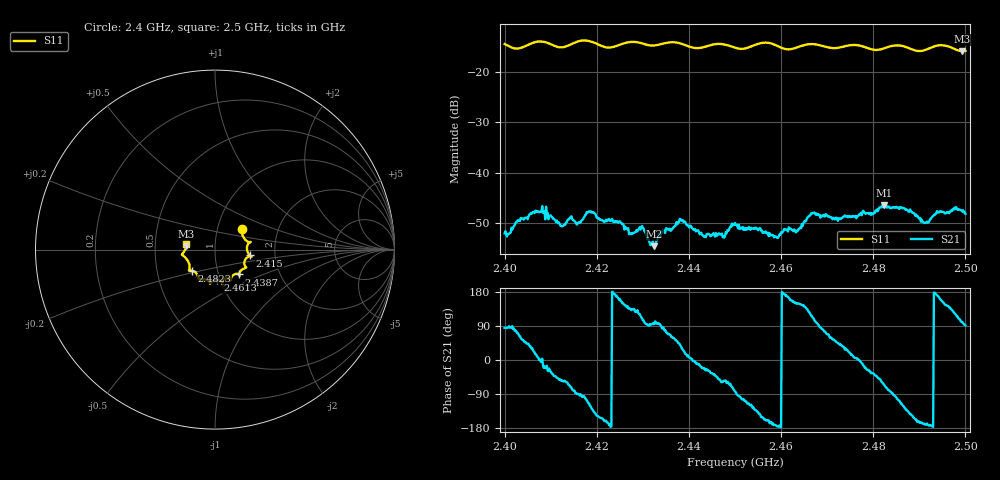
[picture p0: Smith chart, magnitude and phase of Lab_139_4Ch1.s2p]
# Hz S RI R 50
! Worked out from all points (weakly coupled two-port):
!   601 points, 2.4 GHz to 2.5 GHz, reference 50 ohm
!   highest |S21| = -46.55 dB at 2.4823 GHz (marker M1); lowest = -54.7 dB at 2.4325 GHz (marker M2)
!   lowest |S11| = -15.8 dB at 2.4993 GHz (marker M3), VSWR 1.39, Z = 36 + j1.28 ohm
!   |S11| at or under -10 dB: start of sweep to end of sweep
!   S12 and S22 are empty: the file has one direction only
!   S11 on the Smith chart (normalised r, x): 2.4 GHz: 1.32, +0.32; 2.415 GHz: 1.47, -0.10; 2.4387 GHz: 1.25, -0.36; 2.4613 GHz: 0.97, -0.34; 2.4823 GHz: 0.75, -0.18; 2.5 GHz: 0.72, +0.04
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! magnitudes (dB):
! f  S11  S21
! 2.4 GHz  -14.3  -52.1
! 2.4067 GHz  -14.0  -47.6
! 2.4125 GHz  -15.0  -50.8
! 2.415 GHz  -14.2  -49.5
! 2.4167 GHz  -13.7  -49.6
! 2.4188 GHz  -13.9  -47.8
! 2.4275 GHz  -13.9  -52.3
! 2.4298 GHz  -14.2  -50.7
! 2.4325 GHz  -14.6  -54.7
! 2.4333 GHz  -14.5  -53.0
! 2.4387 GHz  -14.4  -49.5
! 2.4433 GHz  -14.9  -52.9
! 2.45 GHz  -15.1  -50.1
! 2.459 GHz  -14.6  -52.8
! 2.4613 GHz  -15.4  -51.5
! 2.4667 GHz  -14.3  -48.2
! 2.4727 GHz  -15.0  -49.1
! 2.4823 GHz  -15.2  -46.6
! 2.4833 GHz  -14.9  -46.9
! 2.4915 GHz  -15.4  -50.0
! 2.4993 GHz  -15.8  -47.8
! 2.5 GHz  -15.7  -48.2
